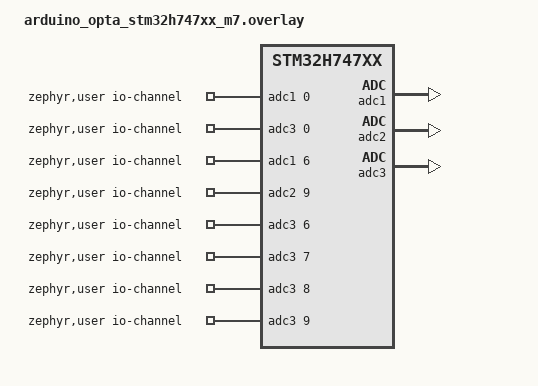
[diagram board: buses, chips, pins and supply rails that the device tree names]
/*
 * Copyright (c) 2021 STMicroelectronics
 * Copyright (c) 2024 DNDG srl
 *
 * SPDX-License-Identifier: Apache-2.0
 */

/ {
	zephyr,user {
		io-channels = <&adc1 0>, /* I1 */
			      <&adc3 0>, /* I2 */
			      <&adc1 6>, /* I3 */
			      <&adc2 9>, /* I4 */
			      <&adc3 6>, /* I5 */
			      <&adc3 7>, /* I6 */
			      <&adc3 8>, /* I7 */
			      <&adc3 9>; /* I8 */
	};
};

&adc1 {
	status = "okay";
};

&adc2 {
	status = "okay";
};

&adc3 {
	status = "okay";
};
